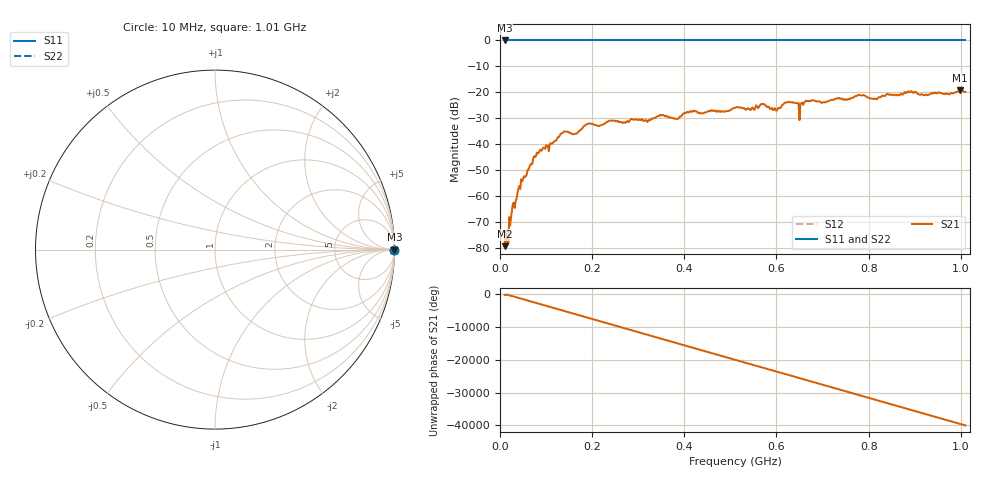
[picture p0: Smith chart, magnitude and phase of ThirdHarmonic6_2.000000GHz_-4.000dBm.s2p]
! 8/17/2025 12:01:36 AM
! C:\ANRITSUVNA\TEMP\TEMP.S2P
! CHANNEL.1
! TR.MEASUREMENT
! RAW.DATA
! RF.CORRECTION.OFF
! AVERAGING.OFF
! IF.BANDWIDTH: 5KHZ
! SWEEPTYPE:  FREQ.SWEEP(Linear)
! Reference Plane Port Info
! PORT:  PORT1  PORT2
! DISTANCE:  0  m  0  m
! TIME:  0  s  0  s
! PHASE.OFFSET:  0  deg.  0  deg.
! LOSS:  0  dB  0  dB
! REF.LOSS:  0  dB  0  dB
! REF.FREQ:  0  Hz  0  Hz
! Power Info
! POWER:  -20  dBm  -20  dBm
! EFF.POWER:  -20  dBm  -20  dBm
! SOURCE.ATTEN:  0  dB  0  dB
! TEST.ATTEN:  0  dB  0  dB
# GHZ S RI R 50.0
! FREQ.GHZ  S11RE  S11IM  S21RE  S21IM  S12RE  S12IM  S22RE  S22IM
!; PortSelection: Port_12
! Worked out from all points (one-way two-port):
!   501 points, 10 MHz to 1.01 GHz, reference 50 ohm
!   highest |S21| = -19.23 dB at 998 MHz (marker M1); lowest = -79.2 dB at 10 MHz (marker M2)
!   lowest |S11| = 0.0 dB at 10 MHz (marker M3)
!   |S11| at or under -10 dB: nowhere
!   |S22| runs from 0.0 to 0.0 dB; largest |S21 - S12| = 1.1
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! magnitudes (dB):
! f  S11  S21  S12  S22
! 10 MHz  0.0  -79.2  0.0  0.0
! 18 MHz  0.0  -78.3  0.0  0.0
! 24 MHz  0.0  -68.1  0.0  0.0
! 42 MHz  0.0  -56.1  0.0  0.0
! 76 MHz  0.0  -45.0  0.0  0.0
! 136 MHz  0.0  -35.6  0.0  0.0
! 162 MHz  0.0  -36.0  0.0  0.0
! 178 MHz  0.0  -34.0  0.0  0.0
! 192 MHz  0.0  -32.1  0.0  0.0
! 322 MHz  0.0  -30.9  0.0  0.0
! 344 MHz  0.0  -29.2  0.0  0.0
! 384 MHz  0.0  -30.2  0.0  0.0
! 410 MHz  0.0  -27.8  0.0  0.0
! 510 MHz  0.0  -26.0  0.0  0.0
! 570 MHz  0.0  -24.4  0.0  0.0
! 596 MHz  0.0  -26.1  0.0  0.0
! 622 MHz  0.0  -23.8  0.0  0.0
! 654 MHz  0.0  -24.2  0.0  0.0
! 678 MHz  0.0  -23.0  0.0  0.0
! 844 MHz  0.0  -20.9  0.0  0.0
! 998 MHz  0.0  -19.2  0.0  0.0
! 1.01 GHz  0.0  -19.9  0.0  0.0
